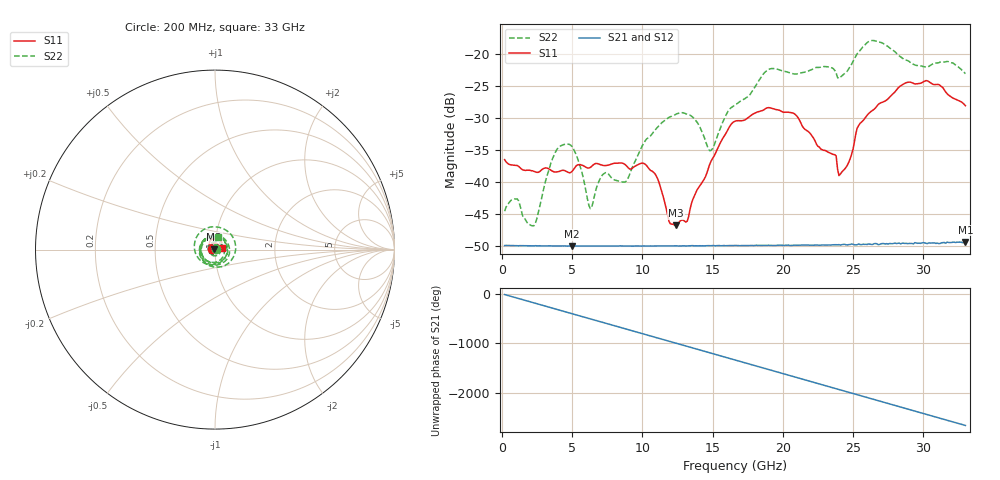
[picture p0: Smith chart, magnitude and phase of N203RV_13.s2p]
# GHZ S RI R 50
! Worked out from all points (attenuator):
!   329 points, 200 MHz to 33 GHz, reference 50 ohm
!   highest |S21| = -49.43 dB at 33 GHz (marker M1); lowest = -50.1 dB at 5 GHz (marker M2)
!   lowest |S11| = -46.8 dB at 12.4 GHz (marker M3), VSWR 1.01, Z = 49.6 + j0.131 ohm
!   |S11| at or under -10 dB: start of sweep to end of sweep
!   |S22| runs from -46.9 to -17.8 dB; largest |S21 - S12| = 7.2e-05
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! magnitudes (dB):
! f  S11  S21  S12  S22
! 200 MHz  -36.5  -50.0  -49.9  -44.6
! 1.1 GHz  -37.4  -50.0  -50.0  -42.7
! 2.3 GHz  -38.4  -50.0  -50.0  -46.9
! 3.8 GHz  -38.5  -50.1  -50.0  -35.4
! 5 GHz  -38.4  -50.1  -50.1  -34.5
! 5.7 GHz  -37.4  -50.0  -50.0  -38.5
! 6.3 GHz  -37.7  -50.1  -50.0  -44.2
! 7.2 GHz  -37.4  -50.1  -50.0  -38.8
! 8.8 GHz  -37.3  -50.1  -50.0  -40.0
! 11.2 GHz  -40.1  -50.0  -50.0  -31.2
! 12.4 GHz  -46.8  -50.0  -50.0  -29.4
! 13.2 GHz  -46.2  -50.0  -50.0  -29.4
! 14.8 GHz  -37.2  -50.0  -50.0  -35.1
! 16.6 GHz  -30.5  -50.0  -50.0  -27.9
! 19.1 GHz  -28.4  -50.0  -50.0  -22.3
! 22.1 GHz  -32.8  -49.9  -49.9  -22.4
! 23.8 GHz  -35.9  -49.8  -49.8  -22.9
! 24 GHz  -39.0  -49.8  -49.9  -23.8
! 25.5 GHz  -30.8  -49.8  -49.8  -19.4
! 27.6 GHz  -26.7  -49.7  -49.7  -19.0
! 30.2 GHz  -24.1  -49.6  -49.5  -22.0
! 33 GHz  -28.0  -49.4  -49.4  -23.0
